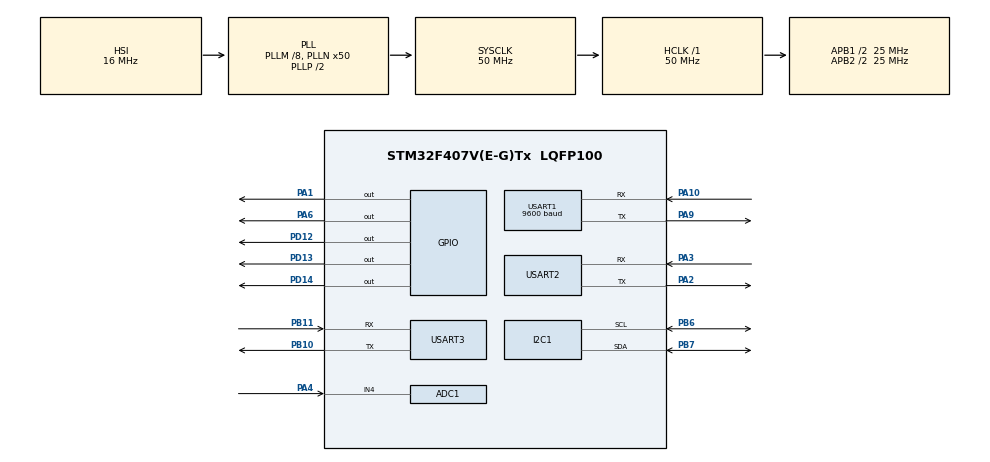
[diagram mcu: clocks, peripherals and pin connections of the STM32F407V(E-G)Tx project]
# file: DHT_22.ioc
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ADC1.Channel-0\#ChannelRegularConversion=ADC_CHANNEL_4
ADC1.NbrOfConversionFlag=1
ADC1.Rank-0\#ChannelRegularConversion=1
ADC1.SamplingTime-0\#ChannelRegularConversion=ADC_SAMPLETIME_3CYCLES
ADC1.master=1
FREERTOS.Tasks01=defaultTask,24,128,StartDefaultTask,Default,NULL,Dynamic,NULL,NULL
FREERTOS.configUSE_NEWLIB_REENTRANT=1
Mcu.Family=STM32F4
Mcu.Name=STM32F407V(E-G)Tx
Mcu.Package=LQFP100
NVIC.PriorityGroup=NVIC_PRIORITYGROUP_4
NVIC.TIM6_DAC_IRQn=true\:15\:0\:false\:false\:true\:false\:false\:true\:true
NVIC.TimeBase=TIM6_DAC_IRQn
NVIC.TimeBaseIP=TIM6
NVIC.USART1_IRQn=true\:5\:0\:false\:false\:true\:true\:true\:true\:true
PA1.GPIO_ModeDefaultOutputPP=GPIO_MODE_OUTPUT_OD
PA1.GPIO_PuPd=GPIO_NOPULL
PA1.PinState=GPIO_PIN_SET
PA1.Signal=GPIO_Output
PA10.Mode=Asynchronous
PA10.Signal=USART1_RX
PA2.Mode=Asynchronous
PA2.Signal=USART2_TX
PA3.Mode=Asynchronous
PA3.Signal=USART2_RX
PA4.Signal=ADCx_IN4
PA6.Signal=GPIO_Output
PA9.Mode=Asynchronous
PA9.Signal=USART1_TX
PB10.Mode=Asynchronous
PB10.Signal=USART3_TX
PB11.Mode=Asynchronous
PB11.Signal=USART3_RX
PB6.Mode=I2C
PB6.Signal=I2C1_SCL
PB7.Mode=I2C
PB7.Signal=I2C1_SDA
PD12.Signal=GPIO_Output
PD13.Signal=GPIO_Output
PD14.Signal=GPIO_Output
ProjectManager.HeapSize=0x200
ProjectManager.StackSize=0x400
ProjectManager.TargetToolchain=STM32CubeIDE
RCC.48MHZClocksFreq_Value=14285714.285714285
RCC.AHBFreq_Value=50000000
RCC.APB1CLKDivider=RCC_HCLK_DIV2
RCC.APB1Freq_Value=25000000
RCC.APB1TimFreq_Value=50000000
RCC.APB2CLKDivider=RCC_HCLK_DIV2
RCC.APB2Freq_Value=25000000
RCC.APB2TimFreq_Value=50000000
RCC.CortexFreq_Value=50000000
RCC.HCLKFreq_Value=50000000
RCC.HSE_VALUE=8000000
RCC.HSI_VALUE=16000000
RCC.LSE_VALUE=32768
RCC.PLLM=8
RCC.PLLN=50
RCC.PLLQ=7
RCC.SYSCLKFreq_VALUE=50000000
RCC.SYSCLKSource=RCC_SYSCLKSOURCE_PLLCLK
RCC.VCOOutputFreq_Value=100000000
SH.ADCx_IN4.0=ADC1_IN4,IN4
TIM2.Prescaler=49
USART1.BaudRate=9600
USART1.VirtualMode=VM_ASYNC
USART2.VirtualMode=VM_ASYNC
USART3.VirtualMode=VM_ASYNC
VP_FREERTOS_VS_CMSIS_V2.Mode=CMSIS_V2
VP_SYS_VS_tim6.Mode=TIM6
VP_TIM2_VS_ClockSourceINT.Mode=Internal
board=STM32F407G-DISC1

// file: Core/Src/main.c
/* USER CODE BEGIN Header */
/**
  ******************************************************************************
  * @file           : main.c
  * @brief          : Main program body
  ******************************************************************************
  * @attention
  *
  * Copyright (c) 2026 STMicroelectronics.
  * All rights reserved.
  *
  * This software is licensed under terms that can be found in the LICENSE file
  * in the root directory of this software component.
  * If no LICENSE file comes with this software, it is provided AS-IS.
  *
  ******************************************************************************
  */
/* USER CODE END Header */
#include "main.h"
#include "cmsis_os.h"

/* USER CODE BEGIN Includes */
#include<stdio.h>
#include<string.h>
#include <inttypes.h>

#include"semphr.h"

// All Sensors libraries
#include"bme280.h"
#include"mq135.h"
#include"pms.h"

/* USER CODE END Includes */

ADC_HandleTypeDef hadc1;

I2C_HandleTypeDef hi2c1;

TIM_HandleTypeDef htim2;

UART_HandleTypeDef huart1;
UART_HandleTypeDef huart2;
UART_HandleTypeDef huart3;

/* Definitions for defaultTask */
osThreadId_t defaultTaskHandle;
const osThreadAttr_t defaultTask_attributes = {
  .name = "defaultTask",
  .stack_size = 128 * 4,
  .priority = (osPriority_t) osPriorityNormal,
};
/* USER CODE BEGIN PV */

SemaphoreHandle_t xSensorMutex;

TaskHandle_t xBuzzerTaskHandle;

typedef struct
{
	DHT22_Data_t dht;
	MQ135_Data mqRead;
	BME280_Data BMEdata;
	char *MQ135_data;
	int alarmState ;
	uint8_t pm2_5Reading;
}SensorData_t;

SensorData_t SensorData;

/* USER CODE END PV */

void SystemClock_Config(void);
static void MX_GPIO_Init(void);
static void MX_USART2_UART_Init(void);
static void MX_TIM2_Init(void);
static void MX_ADC1_Init(void);
static void MX_USART3_UART_Init(void);
static void MX_USART1_UART_Init(void);
static void MX_I2C1_Init(void);
void StartDefaultTask(void *argument);

/* USER CODE BEGIN 0 */

void vBlinkLedTask(void* pvParam)
{
	TickType_t PreviousWakeTime = xTaskGetTickCount();
	while(1)
	{
		HAL_GPIO_TogglePin(GPIOD, GPIO_PIN_14);
		vTaskDelayUntil(&PreviousWakeTime, 5000/portTICK_RATE_MS);
	}
	vTaskDelete(NULL);
}

//BME280 task
void vBMERead(void* pvParam)
{
	BME280_Data readBME;
	uint8_t bme_id;

	bme_id=BME280_CheckChipID(&hi2c1);
	if(bme_id != 0x60)
		Error_Handler();

	BME280_StartTemp(&hi2c1);
	BME280_StartHumidity(&hi2c1);

	BME280_ReadTempCalibration(&hi2c1);
	BME280_ReadHumidityCalibration(&hi2c1);
	while(1)
	{
		readBME.Temp = BME280_GetTemperature(&hi2c1);
		readBME.Humidity = BME280_GetTemperature(&hi2c1);

		xSemaphoreTake(xSensorMutex, portMAX_DELAY);
		SensorData.BMEdata.Temp = readBME.Temp;
		SensorData.BMEdata.Humidity = readBME.Humidity;
		xSemaphoreGive(xSensorMutex);

		vTaskDelay(3000);
	}
	vTaskDelete(NULL);
}

// MQ135 Task
void vMQ135Read(void* pvParam)
{
	MQ135_Data readMQ135;
//	int len;
//	char str[80];

	while(1)
	{
		readMQ135 = ADCRead();
		xSemaphoreTake(xSensorMutex, portMAX_DELAY);
		SensorData.mqRead = readMQ135;
		xSemaphoreGive(xSensorMutex);

		if (readMQ135.ADC_val < 2500)
		{
			xSemaphoreTake(xSensorMutex, portMAX_DELAY);
			SensorData.MQ135_data = "GOOD";
			xSemaphoreGive(xSensorMutex);
		}
		if(readMQ135.ADC_val> 2500 && readMQ135.ADC_val < 3200)
		{
			xSemaphoreTake(xSensorMutex, portMAX_DELAY);
			SensorData.MQ135_data = "MODERATE";
			xSemaphoreGive(xSensorMutex);
		}
		else
		{
			xSemaphoreTake(xSensorMutex, portMAX_DELAY);
			SensorData.MQ135_data = "BAD";
			xSemaphoreGive(xSensorMutex);
		}

//		len = sprintf(str, "ADc Value = %d, res value = %.1f\r\n", readMQ135.ADC_val, readMQ135.sensorResistace_ratio);
//		HAL_UART_Transmit(&huart2, (uint8_t*)str, len, HAL_MAX_DELAY);

		xTaskNotifyGive(xBuzzerTaskHandle);

		vTaskDelay(6000);
	}
	vTaskDelete(NULL);
}

//Buzzer Task
void BuzzerTrigg(void* pvParam)
{
	while(1)
	{
		ulTaskNotifyTake(pdTRUE, portMAX_DELAY);

		MQ135_Data data;

		xSemaphoreTake(xSensorMutex, portMAX_DELAY);
		data = SensorData.mqRead;
		xSemaphoreGive(xSensorMutex);

		if(data.ADC_val > 3200)
		{
			HAL_GPIO_WritePin(GPIOD, GPIO_PIN_13, GPIO_PIN_SET);
			SensorData.alarmState = 1;
		}
		else
		{
			HAL_GPIO_WritePin(GPIOA, GPIO_PIN_13, GPIO_PIN_RESET);
			SensorData.alarmState = 0;
		}

		vTaskDelay(100);
	}
	vTaskDelete(NULL);
}

//pms5003 Task
void PMS5003Task(void* pvParam)
{
	PMS5003_Start();
	while(1)
	{
		xSemaphoreTake(xSensorMutex, portMAX_DELAY);
		SensorData.pm2_5Reading = rxData.pm2_5;
		xSemaphoreGive(xSensorMutex);

		vTaskDelay(3000);
	}
	vTaskDelete(NULL);
}

// UART Display Task
void UARTSend(void* pvParam)
{
	SensorData_t localData;

	char str[128];
	int len;

	while(1)
	{

		xSemaphoreTake(xSensorMutex, portMAX_DELAY);
		localData = SensorData;
		xSemaphoreGive(xSensorMutex);

		len = sprintf(str,
				" Temperature = %.1f \r\n Humidity = %.1f \r\n MQ135 value = %s \n\r Alarm State = %d\n\r PM2.5 value = %d\n\r\n",
				localData.BMEdata.Temp,
				localData.BMEdata.Humidity,
				localData.MQ135_data,
				localData.alarmState,
				localData.pm2_5Reading);

		HAL_UART_Transmit(&huart2, (uint8_t*)str, len, HAL_MAX_DELAY);

		vTaskDelay(5000);

	}
	vTaskDelete(NULL);
}

//JSON Sent to ESP32 Module
void JSON_UARTSend(void* pvParam)
{
	SensorData_t JSONData;

	char str[128];
	int len;

	while(1)
	{
		xSemaphoreTake(xSensorMutex, portMAX_DELAY);
		JSONData = SensorData;
		xSemaphoreGive(xSensorMutex);

		len = sprintf(str,
				"{\"temperature\":%.1f, \"humidity\":%.1f, \"airquality\":%s, \"pm2.5\":%d, \"alarm\":%d}\n",
				JSONData.BMEdata.Temp,
				JSONData.BMEdata.Humidity,
				JSONData.MQ135_data,
				JSONData.pm2_5Reading,
				JSONData.alarmState);

		HAL_UART_Transmit(&huart3, (uint8_t*)str, len, HAL_MAX_DELAY);

		vTaskDelay(5000);
	}
	vTaskDelete(NULL);
}

/* USER CODE END 0 */

int main(void)
{

  /* MCU Configuration--------------------------------------------------------*/

  /* Reset of all peripherals, Initializes the Flash interface and the Systick. */
  HAL_Init();

  /* Configure the system clock */
  SystemClock_Config();

  /* Initialize all configured peripherals */
  MX_GPIO_Init();
  MX_USART2_UART_Init();
  MX_TIM2_Init();
  MX_ADC1_Init();
  MX_USART3_UART_Init();
  MX_USART1_UART_Init();
  MX_I2C1_Init();
  /* USER CODE BEGIN 2 */
  HAL_TIM_Base_Start(&htim2);
  HAL_UART_Transmit(&huart2, (uint8_t*)"This is environment monitoring module\r\n", 39, HAL_MAX_DELAY);

//  DHT22_Data_t readingDHT;
//  MQ135_Data readMQ135;
//  double temp, humidity;
//  char str[128];
//  int len;

  /* USER CODE END 2 */

  /* Init scheduler */
  osKernelInitialize();

  /* USER CODE BEGIN RTOS_SEMAPHORES */

  xSensorMutex = xSemaphoreCreateMutex();

  /* USER CODE END RTOS_SEMAPHORES */

  /* Create the thread(s) */
  /* creation of defaultTask */
  defaultTaskHandle = osThreadNew(StartDefaultTask, NULL, &defaultTask_attributes);

  /* USER CODE BEGIN RTOS_THREADS */

  xTaskCreate(vBlinkLedTask, "LED Blink", configMINIMAL_STACK_SIZE, NULL, 2, NULL);

  xTaskCreate(vBMERead, "BME Task", 512, NULL, 5, NULL);

  xTaskCreate(vMQ135Read, "MQ135 reading", 256, NULL, 4, NULL);

  xTaskCreate(BuzzerTrigg, "Buzzer task", 256, NULL, 6, &xBuzzerTaskHandle);

  xTaskCreate(PMS5003Task, "PMS5003 Sensor", configMINIMAL_STACK_SIZE, NULL, 5, NULL);

  xTaskCreate(UARTSend, "UART Display", 512, NULL, 2, NULL);

  xTaskCreate(JSON_UARTSend, "JSON sent to esp32", 512, NULL, 2, NULL);

  /* USER CODE END RTOS_THREADS */

  /* Start scheduler */
  osKernelStart();

  /* We should never get here as control is now taken by the scheduler */

  /* Infinite loop */
  while (1)
  {

  }
}

void SystemClock_Config(void)
{
  RCC_OscInitTypeDef RCC_OscInitStruct = {0};
  RCC_ClkInitTypeDef RCC_ClkInitStruct = {0};

  /** Configure the main internal regulator output voltage
  */
  __HAL_RCC_PWR_CLK_ENABLE();
  __HAL_PWR_VOLTAGESCALING_CONFIG(PWR_REGULATOR_VOLTAGE_SCALE1);

  /** Initializes the RCC Oscillators according to the specified parameters
  * in the RCC_OscInitTypeDef structure.
  */
  RCC_OscInitStruct.OscillatorType = RCC_OSCILLATORTYPE_HSI;
  RCC_OscInitStruct.HSIState = RCC_HSI_ON;
  RCC_OscInitStruct.HSICalibrationValue = RCC_HSICALIBRATION_DEFAULT;
  RCC_OscInitStruct.PLL.PLLState = RCC_PLL_ON;
  RCC_OscInitStruct.PLL.PLLSource = RCC_PLLSOURCE_HSI;
  RCC_OscInitStruct.PLL.PLLM = 8;
  RCC_OscInitStruct.PLL.PLLN = 50;
  RCC_OscInitStruct.PLL.PLLP = RCC_PLLP_DIV2;
  RCC_OscInitStruct.PLL.PLLQ = 7;
  if (HAL_RCC_OscConfig(&RCC_OscInitStruct) != HAL_OK)
  {
    Error_Handler();
  }

  /** Initializes the CPU, AHB and APB buses clocks
  */
  RCC_ClkInitStruct.ClockType = RCC_CLOCKTYPE_HCLK|RCC_CLOCKTYPE_SYSCLK
                              |RCC_CLOCKTYPE_PCLK1|RCC_CLOCKTYPE_PCLK2;
  RCC_ClkInitStruct.SYSCLKSource = RCC_SYSCLKSOURCE_PLLCLK;
  RCC_ClkInitStruct.AHBCLKDivider = RCC_SYSCLK_DIV1;
  RCC_ClkInitStruct.APB1CLKDivider = RCC_HCLK_DIV2;
  RCC_ClkInitStruct.APB2CLKDivider = RCC_HCLK_DIV2;

  if (HAL_RCC_ClockConfig(&RCC_ClkInitStruct, FLASH_LATENCY_1) != HAL_OK)
  {
    Error_Handler();
  }
}

static void MX_ADC1_Init(void)
{

  ADC_ChannelConfTypeDef sConfig = {0};

  /** Configure the global features of the ADC (Clock, Resolution, Data Alignment and number of conversion)
  */
  hadc1.Instance = ADC1;
  hadc1.Init.ClockPrescaler = ADC_CLOCK_SYNC_PCLK_DIV2;
  hadc1.Init.Resolution = ADC_RESOLUTION_12B;
  hadc1.Init.ScanConvMode = DISABLE;
  hadc1.Init.ContinuousConvMode = DISABLE;
  hadc1.Init.DiscontinuousConvMode = DISABLE;
  hadc1.Init.ExternalTrigConvEdge = ADC_EXTERNALTRIGCONVEDGE_NONE;
  hadc1.Init.ExternalTrigConv = ADC_SOFTWARE_START;
  hadc1.Init.DataAlign = ADC_DATAALIGN_RIGHT;
  hadc1.Init.NbrOfConversion = 1;
  hadc1.Init.DMAContinuousRequests = DISABLE;
  hadc1.Init.EOCSelection = ADC_EOC_SINGLE_CONV;
  if (HAL_ADC_Init(&hadc1) != HAL_OK)
  {
    Error_Handler();
  }

  /** Configure for the selected ADC regular channel its corresponding rank in the sequencer and its sample time.
  */
  sConfig.Channel = ADC_CHANNEL_4;
  sConfig.Rank = 1;
  sConfig.SamplingTime = ADC_SAMPLETIME_3CYCLES;
  if (HAL_ADC_ConfigChannel(&hadc1, &sConfig) != HAL_OK)
  {
    Error_Handler();
  }

}

static void MX_I2C1_Init(void)
{

  hi2c1.Instance = I2C1;
  hi2c1.Init.ClockSpeed = 100000;
  hi2c1.Init.DutyCycle = I2C_DUTYCYCLE_2;
  hi2c1.Init.OwnAddress1 = 0;
  hi2c1.Init.AddressingMode = I2C_ADDRESSINGMODE_7BIT;
  hi2c1.Init.DualAddressMode = I2C_DUALADDRESS_DISABLE;
  hi2c1.Init.OwnAddress2 = 0;
  hi2c1.Init.GeneralCallMode = I2C_GENERALCALL_DISABLE;
  hi2c1.Init.NoStretchMode = I2C_NOSTRETCH_DISABLE;
  if (HAL_I2C_Init(&hi2c1) != HAL_OK)
  {
    Error_Handler();
  }

}

static void MX_TIM2_Init(void)
{

  TIM_ClockConfigTypeDef sClockSourceConfig = {0};
  TIM_MasterConfigTypeDef sMasterConfig = {0};

  htim2.Instance = TIM2;
  htim2.Init.Prescaler = 49;
  htim2.Init.CounterMode = TIM_COUNTERMODE_UP;
  htim2.Init.Period = 4294967295;
  htim2.Init.ClockDivision = TIM_CLOCKDIVISION_DIV1;
  htim2.Init.AutoReloadPreload = TIM_AUTORELOAD_PRELOAD_DISABLE;
  if (HAL_TIM_Base_Init(&htim2) != HAL_OK)
  {
    Error_Handler();
  }
  sClockSourceConfig.ClockSource = TIM_CLOCKSOURCE_INTERNAL;
  if (HAL_TIM_ConfigClockSource(&htim2, &sClockSourceConfig) != HAL_OK)
  {
    Error_Handler();
  }
  sMasterConfig.MasterOutputTrigger = TIM_TRGO_RESET;
  sMasterConfig.MasterSlaveMode = TIM_MASTERSLAVEMODE_DISABLE;
  if (HAL_TIMEx_MasterConfigSynchronization(&htim2, &sMasterConfig) != HAL_OK)
  {
    Error_Handler();
  }

}

static void MX_USART1_UART_Init(void)
{

  huart1.Instance = USART1;
  huart1.Init.BaudRate = 9600;
  huart1.Init.WordLength = UART_WORDLENGTH_8B;
  huart1.Init.StopBits = UART_STOPBITS_1;
  huart1.Init.Parity = UART_PARITY_NONE;
  huart1.Init.Mode = UART_MODE_TX_RX;
  huart1.Init.HwFlowCtl = UART_HWCONTROL_NONE;
  huart1.Init.OverSampling = UART_OVERSAMPLING_16;
  if (HAL_UART_Init(&huart1) != HAL_OK)
  {
    Error_Handler();
  }

}

static void MX_USART2_UART_Init(void)
{

  huart2.Instance = USART2;
  huart2.Init.BaudRate = 115200;
  huart2.Init.WordLength = UART_WORDLENGTH_8B;
  huart2.Init.StopBits = UART_STOPBITS_1;
  huart2.Init.Parity = UART_PARITY_NONE;
  huart2.Init.Mode = UART_MODE_TX_RX;
  huart2.Init.HwFlowCtl = UART_HWCONTROL_NONE;
  huart2.Init.OverSampling = UART_OVERSAMPLING_16;
  if (HAL_UART_Init(&huart2) != HAL_OK)
  {
    Error_Handler();
  }

}

static void MX_USART3_UART_Init(void)
{

  huart3.Instance = USART3;
  huart3.Init.BaudRate = 115200;
  huart3.Init.WordLength = UART_WORDLENGTH_8B;
  huart3.Init.StopBits = UART_STOPBITS_1;
  huart3.Init.Parity = UART_PARITY_NONE;
  huart3.Init.Mode = UART_MODE_TX_RX;
  huart3.Init.HwFlowCtl = UART_HWCONTROL_NONE;
  huart3.Init.OverSampling = UART_OVERSAMPLING_16;
  if (HAL_UART_Init(&huart3) != HAL_OK)
  {
    Error_Handler();
  }

}

static void MX_GPIO_Init(void)
{
  GPIO_InitTypeDef GPIO_InitStruct = {0};

  /* GPIO Ports Clock Enable */
  __HAL_RCC_GPIOA_CLK_ENABLE();
  __HAL_RCC_GPIOB_CLK_ENABLE();
  __HAL_RCC_GPIOD_CLK_ENABLE();

  /*Configure GPIO pin Output Level */
  HAL_GPIO_WritePin(GPIOA, GPIO_PIN_1, GPIO_PIN_SET);

  /*Configure GPIO pin Output Level */
  HAL_GPIO_WritePin(GPIOA, GPIO_PIN_6, GPIO_PIN_RESET);

  /*Configure GPIO pin Output Level */
  HAL_GPIO_WritePin(GPIOD, GPIO_PIN_12|GPIO_PIN_13|GPIO_PIN_14, GPIO_PIN_RESET);

  /*Configure GPIO pin : PA1 */
  GPIO_InitStruct.Pin = GPIO_PIN_1;
  GPIO_InitStruct.Mode = GPIO_MODE_OUTPUT_OD;
  GPIO_InitStruct.Pull = GPIO_NOPULL;
  GPIO_InitStruct.Speed = GPIO_SPEED_FREQ_LOW;
  HAL_GPIO_Init(GPIOA, &GPIO_InitStruct);

  /*Configure GPIO pin : PA6 */
  GPIO_InitStruct.Pin = GPIO_PIN_6;
  GPIO_InitStruct.Mode = GPIO_MODE_OUTPUT_PP;
  GPIO_InitStruct.Pull = GPIO_NOPULL;
  GPIO_InitStruct.Speed = GPIO_SPEED_FREQ_LOW;
  HAL_GPIO_Init(GPIOA, &GPIO_InitStruct);

  /*Configure GPIO pins : PD12 PD13 PD14 */
  GPIO_InitStruct.Pin = GPIO_PIN_12|GPIO_PIN_13|GPIO_PIN_14;
  GPIO_InitStruct.Mode = GPIO_MODE_OUTPUT_PP;
  GPIO_InitStruct.Pull = GPIO_NOPULL;
  GPIO_InitStruct.Speed = GPIO_SPEED_FREQ_LOW;
  HAL_GPIO_Init(GPIOD, &GPIO_InitStruct);

}

void StartDefaultTask(void *argument)
{
  for(;;)
  {
    osDelay(1);
  }
}

void HAL_TIM_PeriodElapsedCallback(TIM_HandleTypeDef *htim)
{
  if (htim->Instance == TIM6)
  {
    HAL_IncTick();
  }
}

void Error_Handler(void)
{
  __disable_irq();
  while (1)
  {
  }
}
